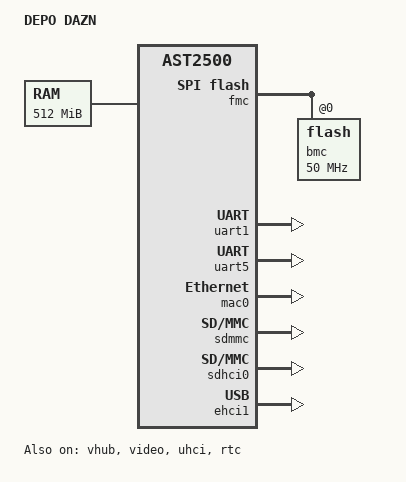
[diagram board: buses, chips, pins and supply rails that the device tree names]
// SPDX-License-Identifier: GPL-2.0+
/dts-v1/;

#include "aspeed-g5.dtsi"
#include <dt-bindings/gpio/aspeed-gpio.h>

/ {
	model = "DEPO DAZN";
	compatible = "depo,dazn","aspeed,ast2500";

	aliases {
		serial0 = &uart1;
		serial4 = &uart5;
	};

	chosen {
		stdout-path = &uart5;
		bootargs = "console=tty0 console=ttyS4,115200 earlycon";
	};

	memory@80000000 {
		reg = <0x80000000 0x20000000>;
	};

	reserved-memory {
		#address-cells = <1>;
		#size-cells = <1>;
		ranges;

		vga_memory: framebuffer@9f000000 {
			no-map;
			reg = <0x9f000000 0x01000000>; /* 16M */
		};

		video_engine_memory: jpegbuffer {
			size = <0x02000000>;	/* 32M */
			alignment = <0x01000000>;
			compatible = "shared-dma-pool";
			reusable;
		};
	};
	
	
	#include "dazn-led.dtsi"
	#include "dazn-keys.dtsi"
};

&fmc {
	status = "okay";
	flash@0 {
		status = "okay";
		m25p,fast-read;
		label = "bmc";
		spi-max-frequency = <50000000>;
#include "openbmc-flash-layout-64.dtsi"
	};
};

&spi1 {
	status = "disable";
};

&spi2 {
	status = "disable";
};

#include "dazn-gpio.dtsi"

&uart1 {
	//Host Console
	status = "okay";
	pinctrl-names = "default";
	pinctrl-0 = <&pinctrl_txd1_default
		     &pinctrl_rxd1_default>;
};

&uart5 {
	status = "okay";
};

&mac0 {
	status = "okay";

	pinctrl-names = "default";
	pinctrl-0 = <&pinctrl_rgmii1_default &pinctrl_mdio1_default>;
};

#include "dazn-i2c.dtsi"

&sdmmc {
	status = "okay";
};

&sdhci0 {
	status = "okay";

	pinctrl-names = "default";
	pinctrl-0 = <&pinctrl_sd1_default>;
};

/*
 * Enable port A as device (via the virtual hub) and port B as
 * host by default on the eval board. This can be easily changed
 * by replacing the override below with &ehci0 { ... } to enable
 * host on both ports.
 */
&vhub {
	status = "okay";
};


&video {
	status = "okay";
	memory-region = <&video_engine_memory>;
};

&ehci1 {
	status = "okay";
};

&uhci {
	status = "okay";
};

&rtc {
	status = "okay";
};

